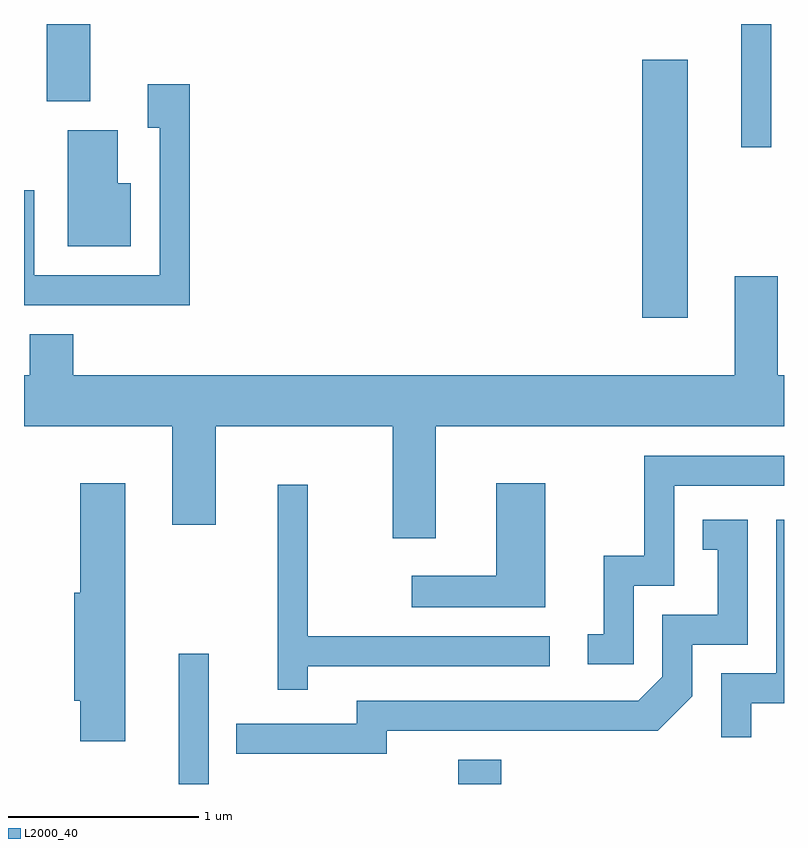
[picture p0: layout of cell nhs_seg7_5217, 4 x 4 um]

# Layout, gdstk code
import gdstk
lib = gdstk.Library(unit=1e-6, precision=1e-09)
def R(c, l, rs):  # rectangles x0, y0, x1, y1
    for r in rs: c.add(gdstk.rectangle(r[:2], r[2:], *l))
def P(c, l, *ps):  # polygons
    for p in ps: c.add(gdstk.Polygon(p, *l))
L2000_40 = (2000, 40)

nhs_seg7_5217 = lib.new_cell('nhs_seg7_5217')
R(nhs_seg7_5217, L2000_40, [(346.426,1670.252,346.584,1670.938), (347.896,1670.252,348.124,1670.379), (348.866,1672.706,349.104,1674.064), (349.386,1673.603,349.544,1674.252), (345.731,1673.846,345.959,1674.252)])
P(nhs_seg7_5217, L2000_40, [(346.484,1673.934),(346.261,1673.934),(346.261,1673.706),(346.326,1673.706),(346.326,1672.929),(345.664,1672.929),(345.664,1673.378),(345.611,1673.378),(345.611,1672.771),(346.484,1672.771)],
  [(346.174,1673.414),(346.104,1673.414),(346.104,1673.694),(345.841,1673.694),(345.841,1673.081),(346.174,1673.081)],
  [(347.779,1672.136),(349.611,1672.136),(349.611,1672.404),(349.579,1672.404),(349.579,1672.924),(349.351,1672.924),(349.351,1672.404),(345.869,1672.404),(345.869,1672.619),(345.641,1672.619),(345.641,1672.404),(345.611,1672.404),(345.611,1672.136),(346.391,1672.136),(346.391,1671.616),(346.619,1671.616),(346.619,1672.136),(347.551,1672.136),(347.551,1671.546),(347.779,1671.546)],
  [(348.819,1671.296),(349.034,1671.296),(349.034,1671.821),(349.611,1671.821),(349.611,1671.979),(348.876,1671.979),(348.876,1671.454),(348.661,1671.454),(348.661,1671.039),(348.578,1671.039),(348.578,1670.881),(348.819,1670.881)],
  [(348.354,1671.834),(348.096,1671.834),(348.096,1671.349),(347.653,1671.349),(347.653,1671.181),(348.354,1671.181)],
  [(346.144,1671.834),(345.906,1671.834),(345.906,1671.259),(345.876,1671.259),(345.876,1670.691),(345.906,1670.691),(345.906,1670.476),(346.144,1670.476)],
  [(347.104,1670.871),(348.378,1670.871),(348.378,1671.029),(347.104,1671.029),(347.104,1671.828),(346.946,1671.828),(346.946,1670.748),(347.104,1670.748)],
  [(347.519,1670.531),(348.947,1670.531),(349.129,1670.714),(349.129,1670.986),(349.419,1670.986),(349.419,1671.644),(349.183,1671.644),(349.183,1671.486),(349.261,1671.486),(349.261,1671.144),(348.971,1671.144),(348.971,1670.817),(348.844,1670.689),(347.361,1670.689),(347.361,1670.569),(346.728,1670.569),(346.728,1670.411),(347.519,1670.411)],
  [(349.439,1670.676),(349.611,1670.676),(349.611,1671.644),(349.571,1671.644),(349.571,1670.834),(349.281,1670.834),(349.281,1670.498),(349.439,1670.498)])

lib.write_gds('nhs_seg7_5217.gds')
